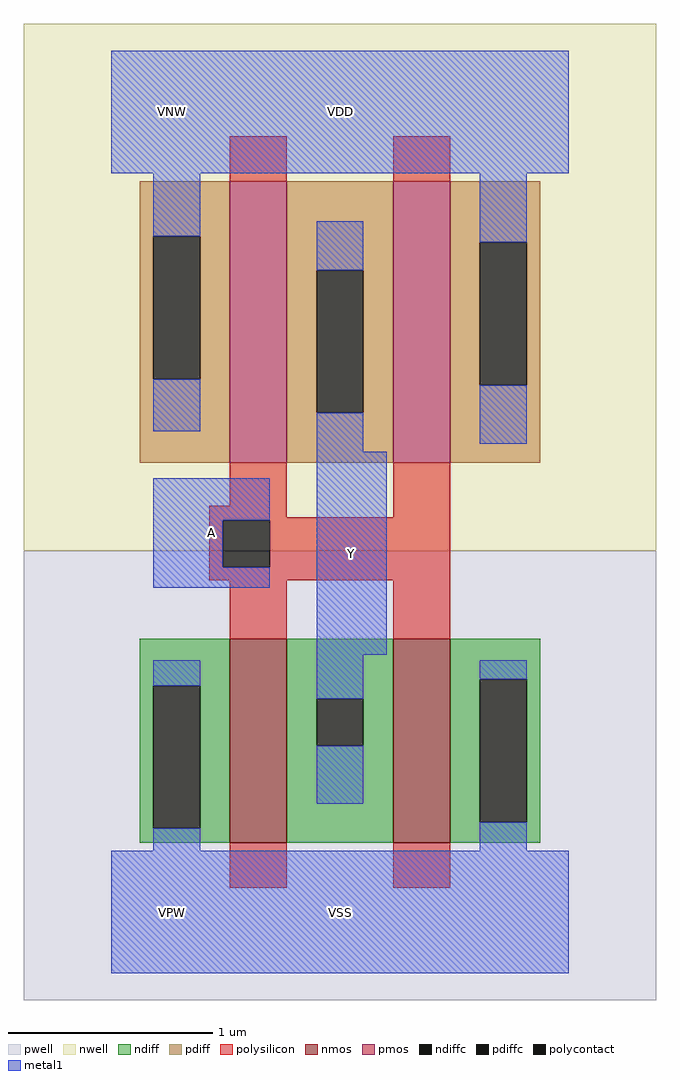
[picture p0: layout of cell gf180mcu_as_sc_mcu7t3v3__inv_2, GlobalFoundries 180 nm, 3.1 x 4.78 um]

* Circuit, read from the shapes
.subckt gf180mcu_as_sc_mcu7t3v3__inv_2 VDD VNW VPW VSS Y A
XM1 Y A VSS VPW nfet_03v3 w=1u l=0.28u m=2
XM2 Y A VDD VNW pfet_03v3 w=1.38u l=0.28u m=2
.ends

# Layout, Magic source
magic
tech gf180mcuD
magscale 1 10
<< nwell >>
rect -86 354 534 870
<< pwell >>
rect -86 -86 534 354
<< nmos >>
rect 116 68 172 268
rect 276 68 332 268
<< pmos >>
rect 116 440 172 716
rect 276 440 332 716
<< ndiff >>
rect 28 222 116 268
rect 28 82 41 222
rect 87 82 116 222
rect 28 68 116 82
rect 172 209 276 268
rect 172 163 201 209
rect 247 163 276 209
rect 172 68 276 163
rect 332 228 420 268
rect 332 88 361 228
rect 407 88 420 228
rect 332 68 420 88
<< pdiff >>
rect 28 662 116 716
rect 28 522 41 662
rect 87 522 116 662
rect 28 440 116 522
rect 172 629 276 716
rect 172 489 201 629
rect 247 489 276 629
rect 172 440 276 489
rect 332 656 420 716
rect 332 516 361 656
rect 407 516 420 656
rect 332 440 420 516
<< ndiffc >>
rect 41 82 87 222
rect 201 163 247 209
rect 361 88 407 228
<< pdiffc >>
rect 41 522 87 662
rect 201 489 247 629
rect 361 516 407 656
<< polysilicon >>
rect 116 716 172 760
rect 276 716 332 760
rect 116 398 172 440
rect 96 387 172 398
rect 276 387 332 440
rect 96 384 332 387
rect 96 338 109 384
rect 155 338 332 384
rect 96 325 332 338
rect 116 268 172 325
rect 276 268 332 325
rect 116 24 172 68
rect 276 24 332 68
<< polycontact >>
rect 109 338 155 384
<< metal1 >>
rect 0 724 448 844
rect 41 662 87 724
rect 41 471 87 522
rect 201 629 247 677
rect 201 451 247 489
rect 361 656 407 724
rect 361 459 407 516
rect 41 384 155 425
rect 41 338 109 384
rect 41 318 155 338
rect 201 252 270 451
rect 41 222 87 247
rect 201 209 247 252
rect 201 106 247 163
rect 361 228 407 247
rect 41 60 87 82
rect 361 60 407 88
rect 0 -60 448 60
<< labels >>
rlabel metal1 s 0 724 448 844 4 VDD
port 7 nsew
rlabel nwell s 10 734 110 834 4 VNW
port 8 nsew
rlabel pwell s 10 -50 110 50 4 VPW
port 9 nsew
rlabel metal1 s 0 -60 448 60 4 VSS
port 10 nsew
rlabel metal1 s 201 252 270 451 4 Y
port 11 nsew
rlabel metal1 s 41 318 155 425 4 A
port 12 nsew
<< properties >>
string FIXED_BBOX 0 0 448 784
string MASKHINTS_NPLUS -16 -46 464 354
string MASKHINTS_PPLUS -16 354 464 830
<< end >>
